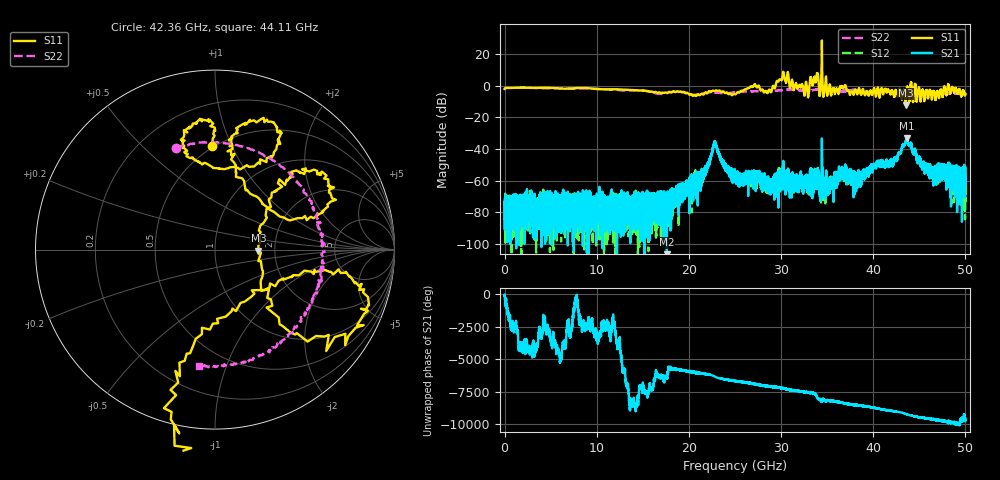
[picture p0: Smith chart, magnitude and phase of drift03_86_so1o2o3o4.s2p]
!Created with skrf (http://scikit-rf.org).
# Hz S RI R 50.0
!freq ReS11 ImS11 ReS21 ImS21 ReS12 ImS12 ReS22 ImS22
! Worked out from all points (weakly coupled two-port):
!   10000 points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, 5.3 MHz to 50 GHz, reference 50 ohm
!   highest |S21| = -33.30 dB at 43.65 GHz (marker M1); lowest = -127.8 dB at 17.61 GHz (marker M2)
!   lowest |S11| = -12.3 dB at 43.52 GHz (marker M3), VSWR 1.64, Z = 81.9 - j1.1 ohm
!   |S11| at or under -10 dB: 43.48362 GHz to 43.55604 GHz (72.42 MHz wide, 0.166 % of centre); 43.89889 GHz to 43.90234 GHz (3.447 MHz wide, 0.00785 % of centre); 44.31084 GHz to 44.3187 GHz (7.858 MHz wide, 0.0177 % of centre) (the widest 3 of 6)
!   |S22| runs from -5.9 to -1.3 dB; largest |S21 - S12| = 0.017
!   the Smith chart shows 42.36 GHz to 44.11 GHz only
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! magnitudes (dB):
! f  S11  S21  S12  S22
! 5.3 MHz  -2.1  -75.0  -72.4  -2.1
! 8.34 GHz  -1.5  -82.1  -84.9  -1.9
! 16.67 GHz  -4.4  -68.9  -73.1  -5.1
! 17.61 GHz  -4.5  -127.8  -89.4  -4.7
! 21.26 GHz  -5.7  -57.8  -55.3  -5.2
! 22.81 GHz  -3.5  -35.6  -35.3  -4.4
! 25.01 GHz  -5.5  -56.5  -59.1  -4.3
! 27.02 GHz  -0.3  -57.9  -55.3  -3.5
! 28.72 GHz  -2.5  -60.6  -65.4  -3.5
! 30.14 GHz  4.4  -59.3  -53.3  -2.7
! 32.74 GHz  2.0  -59.5  -57.2  -3.3
! 33.34 GHz  2.6  -55.2  -58.2  -2.9
! 33.82 GHz  4.0  -57.5  -56.7  -2.5
! 34.87 GHz  5.6  -62.5  -63.1  -2.3
! 36.48 GHz  -0.4  -57.7  -55.5  -3.8
! 38.06 GHz  -2.5  -61.8  -55.7  -2.8
! 41.67 GHz  -2.8  -49.3  -50.8  -3.6
! 43.52 GHz  -12.3  -35.4  -35.7  -4.2
! 43.65 GHz  -1.5  -33.3  -33.6  -4.1
! 46.27 GHz  -5.2  -53.9  -52.7  -5.5
! 49.63 GHz  -5.3  -59.3  -59.7  -5.0
! 50 GHz  -5.2  -58.6  -51.6  -4.9
